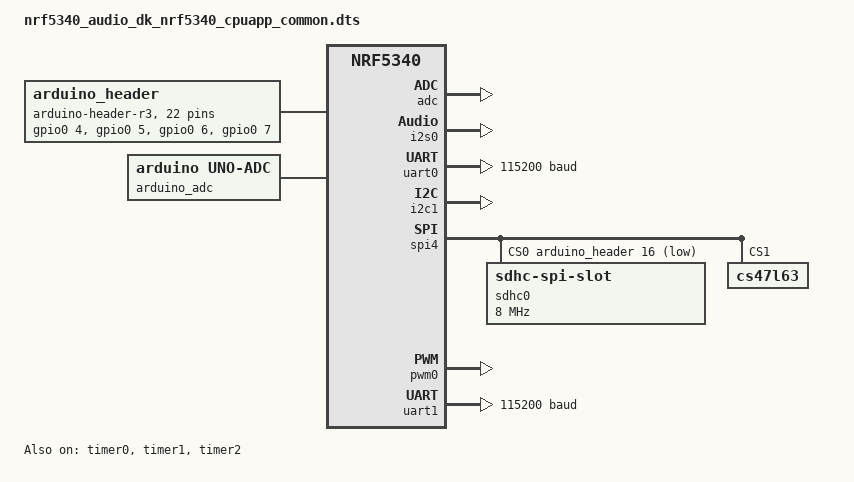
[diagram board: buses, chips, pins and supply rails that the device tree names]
/*
 * Copyright (c) 2020-2022 Nordic Semiconductor ASA
 *
 * SPDX-License-Identifier: LicenseRef-Nordic-5-Clause
 */
#include "nrf5340_audio_dk_nrf5340_cpuapp_common-pinctrl.dtsi"

/ {
	chosen {
		zephyr,console = &uart0;
		zephyr,shell-uart = &uart0;
		zephyr,uart-mcumgr = &uart0;
		zephyr,bt-mon-uart = &uart0;
		zephyr,bt-c2h-uart = &uart0;
		zephyr,bt-hci-rpmsg-ipc = &ipc0;
	};

	arduino_header: connector {
		compatible = "arduino-header-r3";
		#gpio-cells = <2>;
		gpio-map-mask = <0xffffffff 0xffffffc0>;
		gpio-map-pass-thru = <0 0x3f>;
		gpio-map = <0 0 &gpio0 4 0>,	/* A0 */
			   <1 0 &gpio0 5 0>,	/* A1 */
			   <2 0 &gpio0 6 0>,	/* A2 */
			   <3 0 &gpio0 7 0>,	/* A3 */
			   <4 0 &gpio0 25 0>,	/* A4 */ 
			   <5 0 &gpio0 26 0>,	/* A5 */
			   <6 0 &gpio1 9 0>,	/* D0 */
			   <7 0 &gpio1 8 0>,	/* D1 */
			   <8 0 &gpio0 31 0>,	/* D2 */
			   <9 0 &gpio1 0 0>,	/* D3 */
			   <10 0 &gpio1 1 0>,	/* D4 */
			   <11 0 &gpio1 14 0>,	/* D5 */
			   <12 0 &gpio1 7 0>,	/* D6 */
			   <13 0 &gpio1 11 0>,	/* D7 */
			   <14 0 &gpio1 10 0>,	/* D8 */
			   <15 0 &gpio1 13 0>,	/* D9 */
			   <16 0 &gpio1 12 0>,	/* D10 */
			   <17 0 &gpio1 9 0>,	/* D11 */
			   <18 0 &gpio1 10 0>,	/* D12 */
			   <19 0 &gpio1 8 0>,	/* D13 */
			   <20 0 &gpio1 2 0>,	/* D14 */
			   <21 0 &gpio1 3 0>;	/* D15 */
	};
	arduino_adc: analog-connector {
		compatible = "arduino,uno-adc";
		#io-channel-cells = <1>;
		io-channel-map = <0 &adc 0>,	/* A0 = P0.4 = AIN0 */
				 <1 &adc 1>,	/* A1 = P0.5 = AIN1 */
				 <2 &adc 2>,	/* A2 = P0.6 = AIN2 */
				 <3 &adc 3>,	/* A3 = P0.7 = AIN3 */
				 <4 &adc 4>,	/* A4 = P0.25 = AIN4 */
				 <5 &adc 5>;	/* A5 = P0.26 = AIN5 */
	};
	gpio_fwd: nrf-gpio-forwarder {
		compatible = "nordic,nrf-gpio-forwarder";
		status = "okay";
		uart {
			gpios = <&gpio1 9 0>, <&gpio1 8 0>, <&gpio1 11 0>, <&gpio1 10 0>;
		};
		leds {
			gpios = <&gpio0 28 0>, <&gpio0 29 0>, <&gpio0 30 0>;
		};
	};
};

&adc {
	status = "okay";
};

&gpiote {
	status = "okay";
};

&gpio0 {
	status = "okay";
};

&gpio1 {
	status = "okay";
};

&i2s0 {
	compatible = "nordic,nrf-i2s";
	status = "okay";
	pinctrl-0 = <&i2s0_default>;
	pinctrl-names = "default";
};

&uart0 {
	status = "okay";
	current-speed = <115200>;
	pinctrl-0 = <&uart0_default>;
	pinctrl-1 = <&uart0_sleep>;
	pinctrl-names = "default", "sleep";
};

&i2c1 {
	compatible = "nordic,nrf-twim";
	status = "okay";
	pinctrl-0 = <&i2c1_default>;
	pinctrl-1 = <&i2c1_sleep>;
	pinctrl-names = "default", "sleep";
};

&spi4 {
	compatible = "nordic,nrf-spim";
	status = "okay";
	cs-gpios = <&gpio0 11 GPIO_ACTIVE_LOW>, <&gpio0 17 GPIO_ACTIVE_LOW>;
	pinctrl-0 = <&spi4_default>;
	pinctrl-1 = <&spi4_sleep>;
	pinctrl-names = "default", "sleep";
	sdhc0: sdhc@0 {
		compatible = "zephyr,sdhc-spi-slot";
		reg = <0>;
		status = "okay";
		mmc {
			compatible = "zephyr,sdmmc-disk";
			status = "okay";
		};

		spi-max-frequency = <8000000>;
	};
	cs47l63: cs47l63@1 {
		reg = <1>;
	};
};

&pwm0 {
	status = "okay";
};

&timer0 {
	status = "okay";
};

&timer1 {
	status = "okay";
};

&timer2 {
	status = "okay";
};

arduino_serial: &uart1 {
	compatible = "nordic,nrf-uarte";
	current-speed = <115200>;
	pinctrl-0 = <&uart1_default>;
	pinctrl-1 = <&uart1_sleep>;
	pinctrl-names = "default", "sleep";
};
arduino_i2c: &i2c1 {};
arduino_spi: &spi4 {
	compatible = "nordic,nrf-spim";
	status = "okay";
	cs-gpios = <&arduino_header 16 GPIO_ACTIVE_LOW>; /* D10 */
	pinctrl-0 = <&spi4_default>;
	pinctrl-1 = <&spi4_sleep>;
	pinctrl-names = "default", "sleep";
};
&flash0 {
	partitions {
		compatible = "fixed-partitions";
		#address-cells = <1>;
		#size-cells = <1>;

		boot_partition: partition@0 {
			label = "mcuboot";
			reg = <0x00000000 0x00010000>;
		};
		slot0_partition: partition@10000 {
			label = "image-0";
		};
		slot0_ns_partition: partition@50000 {
			label = "image-0-nonsecure";
		};
		slot1_partition: partition@80000 {
			label = "image-1";
		};
		slot1_ns_partition: partition@c0000 {
			label = "image-1-nonsecure";
		};
		scratch_partition: partition@f0000 {
			label = "image-scratch";
			reg = <0x000f0000 0xa000>;
		};
		storage_partition: partition@fa000 {
			label = "storage";
			reg = <0x000fa000 0x00006000>;
		};
	};
};

/ {
	reserved-memory {
		#address-cells = <1>;
		#size-cells = <1>;
		ranges;

		sram0_image: image@20000000 {
			/* Zephyr image(s) memory */
		};

		sram0_s: image_s@20000000 {
			/* Secure image memory */
		};

		sram0_ns: image_ns@20040000 {
			/* Non-Secure image memory */
		};
	};
};

/* Include partition configuration file */
#include "nrf5340_audio_dk_nrf5340_cpuapp_partition_conf.dts"
#include "nrf5340_audio_dk_nrf5340_shared.dts"
